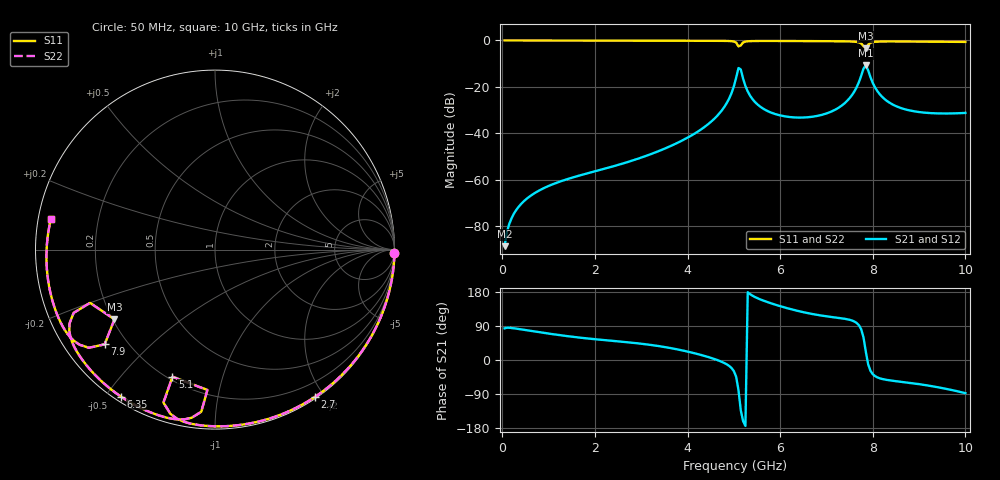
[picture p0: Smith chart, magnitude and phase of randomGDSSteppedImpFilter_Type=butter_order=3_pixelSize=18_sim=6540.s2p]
! freq	dB(S11)	phase(S11)	dB(S12)	phase(S12)
!  dB(S21)	phase(S21)	dB(S22)	phase(S22)
!S-par simulation data
#  GHz  S  DB  R 50
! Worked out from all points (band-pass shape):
!   200 points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, 50 MHz to 10 GHz, reference 50 ohm
!   highest |S21| = -10.71 dB at 7.85 GHz (marker M1); lowest = -88.5 dB at 50 MHz (marker M2)
!   |S21| within 3 dB of the highest: 5.078 GHz to 5.166 GHz (87.91 MHz wide, 1.72 % of centre); 7.774 GHz to 7.914 GHz (140.7 MHz wide, 1.79 % of centre)
!   lowest |S11| = -3.3 dB at 7.85 GHz (marker M3), VSWR 5.28, Z = 10.4 - j15 ohm
!   |S11| at or under -10 dB: nowhere
!   |S22| runs from -3.3 to 0.0 dB; largest |S21 - S12| = 0
!   S11 on the Smith chart (normalised r, x): 50 MHz: open; 2.7 GHz: 0.02, -1.89; 5.1 GHz: 0.22, -0.70; 6.35 GHz: 0.02, -0.55; 7.9 GHz: 0.12, -0.37; 10 GHz: 0.04, +0.09
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0.05  -0.00 -1.1  -88.50 83.5  -88.50 83.5  -0.00 -1.1
0.65  -0.01 -13.8  -66.29 76.2  -66.29 76.2  -0.01 -13.8
1.75  -0.05 -36.7  -57.64 58.0  -57.64 58.0  -0.05 -36.7
2.7  -0.07 -55.9  -52.36 46.9  -52.36 46.9  -0.07 -55.9
3.4  -0.09 -69.6  -47.41 36.3  -47.41 36.3  -0.09 -69.6
4.55  -0.14 -92.2  -34.22 3.8  -34.22 3.8  -0.14 -92.2
4.85  -0.21 -99.3  -26.82 -11.7  -26.82 -11.7  -0.20 -99.2
5.05  -0.92 -108.6  -16.01 -44.3  -16.01 -44.3  -0.92 -108.6
5.1  -2.54 -108.5  -11.85 -79.2  -11.85 -79.2  -2.53 -108.5
5.15  -2.12 -93.1  -12.49 -133.0  -12.49 -133.0  -2.12 -93.1
5.3  -0.35 -100.1  -21.93 178.8  -21.93 178.8  -0.35 -100.1
5.5  -0.23 -105.9  -27.33 163.6  -27.33 163.6  -0.23 -105.9
6.35  -0.24 -122.7  -33.15 130.5  -33.15 130.5  -0.24 -122.7
6.7  -0.27 -129.2  -32.80 121.2  -32.80 121.2  -0.27 -129.2
7.45  -0.40 -144.5  -25.91 107.5  -25.91 107.5  -0.40 -144.5
7.75  -1.28 -155.9  -15.18 81.1  -15.18 81.1  -1.28 -155.9
7.85  -3.33 -145.3  -10.71 22.0  -10.71 22.0  -3.33 -145.3
7.9  -1.83 -139.4  -12.87 -11.2  -12.87 -11.2  -1.83 -139.3
8.1  -0.50 -149.0  -21.81 -45.9  -21.81 -45.9  -0.50 -149.0
8.35  -0.43 -155.7  -26.62 -53.4  -26.62 -53.4  -0.43 -155.7
8.95  -0.48 -168.4  -30.67 -62.9  -30.67 -62.9  -0.48 -168.4
10  -0.63 169.5  -31.18 -87.6  -31.18 -87.6  -0.63 169.6
